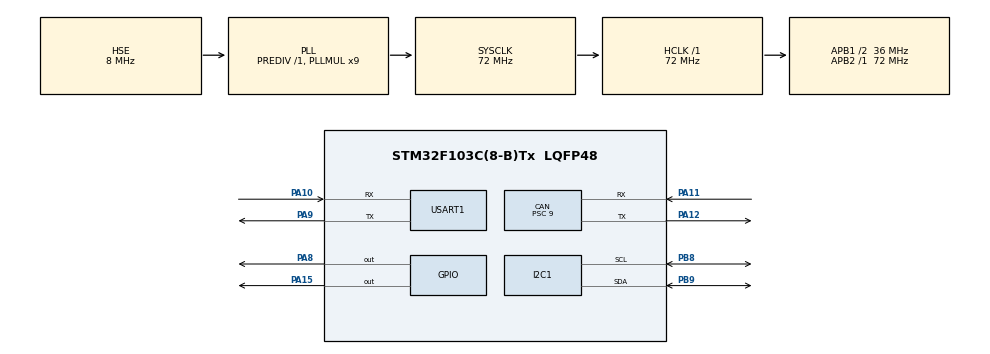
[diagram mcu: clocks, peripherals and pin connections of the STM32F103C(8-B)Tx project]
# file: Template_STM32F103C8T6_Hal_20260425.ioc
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CAN.ABOM=ENABLE
CAN.BS1=CAN_BS1_5TQ
CAN.BS2=CAN_BS2_2TQ
CAN.CalculateBaudRate=500000
CAN.CalculateTimeBit=2000
CAN.CalculateTimeQuantum=250.0
CAN.NART=ENABLE
CAN.Prescaler=9
FREERTOS.Tasks01=defaultTask,24,128,StartDefaultTask,Default,NULL,Dynamic,NULL,NULL
Mcu.Family=STM32F1
Mcu.Name=STM32F103C(8-B)Tx
Mcu.Package=LQFP48
NVIC.PriorityGroup=NVIC_PRIORITYGROUP_4
NVIC.TIM2_IRQn=true\:15\:0\:false\:false\:true\:false\:false\:true\:true
NVIC.TimeBase=TIM2_IRQn
NVIC.TimeBaseIP=TIM2
PA10.Mode=Asynchronous
PA10.Signal=USART1_RX
PA11.Mode=CAN_Activate
PA11.Signal=CAN_RX
PA12.Mode=CAN_Activate
PA12.Signal=CAN_TX
PA13.Mode=Serial_Wire
PA13.Signal=SYS_JTMS-SWDIO
PA14.Mode=Serial_Wire
PA14.Signal=SYS_JTCK-SWCLK
PA15.Signal=GPIO_Output
PA8.Signal=GPIO_Output
PA9.Mode=Asynchronous
PA9.Signal=USART1_TX
PB8.Mode=I2C
PB8.Signal=I2C1_SCL
PB9.Mode=I2C
PB9.Signal=I2C1_SDA
PD0-OSC_IN.Mode=HSE-External-Oscillator
PD0-OSC_IN.Signal=RCC_OSC_IN
PD1-OSC_OUT.Mode=HSE-External-Oscillator
PD1-OSC_OUT.Signal=RCC_OSC_OUT
ProjectManager.HeapSize=0x200
ProjectManager.StackSize=0x400
ProjectManager.TargetToolchain=MDK-ARM V5.32
RCC.AHBFreq_Value=72000000
RCC.APB1CLKDivider=RCC_HCLK_DIV2
RCC.APB1Freq_Value=36000000
RCC.APB1TimFreq_Value=72000000
RCC.APB2Freq_Value=72000000
RCC.APB2TimFreq_Value=72000000
RCC.HCLKFreq_Value=72000000
RCC.PLLMUL=RCC_PLL_MUL9
RCC.PLLSourceVirtual=RCC_PLLSOURCE_HSE
RCC.SYSCLKFreq_VALUE=72000000
RCC.SYSCLKSource=RCC_SYSCLKSOURCE_PLLCLK
RCC.USBFreq_Value=72000000
USART1.VirtualMode=VM_ASYNC
VP_FREERTOS_VS_CMSIS_V2.Mode=CMSIS_V2
VP_IWDG_VS_IWDG.Mode=IWDG_Activate
VP_SYS_VS_tim2.Mode=TIM2
board=custom

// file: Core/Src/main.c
/* USER CODE BEGIN Header */
/**
  ******************************************************************************
  * @file           : main.c
  * @brief          : Main program body
  ******************************************************************************
  * @attention
  *
  * Copyright (c) 2026 STMicroelectronics.
  * All rights reserved.
  *
  * This software is licensed under terms that can be found in the LICENSE file
  * in the root directory of this software component.
  * If no LICENSE file comes with this software, it is provided AS-IS.
  *
  ******************************************************************************
  */
/* USER CODE END Header */
#include "main.h"
#include "cmsis_os.h"
#include "can.h"
#include "i2c.h"
#include "iwdg.h"
#include "usart.h"
#include "gpio.h"

/* USER CODE BEGIN Includes */
#include <stdio.h>
#include "bsp_bq76940.h"
#include "bsp_can.h"
#include "crc8.h"

/* USER CODE END Includes */

void SystemClock_Config(void);
void MX_FREERTOS_Init(void);
/* USER CODE BEGIN PFP */
static void BQ76940_Test_Init(void);
static void BQ76940_Test_Poll(void);

/* USER CODE END PFP */

/* USER CODE BEGIN 0 */
static uint8_t g_bq_inited = 0;

/**
 * @brief 测试CAN发送接收, 发送10个数据包, 每个数据包包含3个字节, 第一个字节为计数器, 第二个字节为0xAA, 第三个字节为0x55
 *
 */
static void test_can_send(void){
  for (uint8_t i = 0; i < 10u; i++)
  {
    uint8_t data[3] = { i, 0xAAu, 0x55u };
    uint8_t ret = BSP_CAN_SendStd(0x123u, data, 3u, 10u);
    if (ret == 0)
    {
      printf("CAN_TX std=0x123 dlc=3 ret=%u cnt=%u\r\n", ret, i);
    }
    else
    {
      printf("CAN_TX std=0x123 dlc=3 ret=%u cnt=%u failed\r\n", ret, i);
    }
	  BSP_CAN_Frame_t frame = {0};
    uint8_t ret1 = BSP_CAN_TryReceive(&frame);
    if (ret1 == 0)
    {
      printf("CAN_RX std=0x%03X dlc=%u data=%02X %02X %02X\r\n", frame.id, frame.dlc, frame.data[0], frame.data[1], frame.data[2]);
    }
    else
    {
      printf("CAN_RX failed ret=%u\r\n", ret1);
    }
  }

    HAL_IWDG_Refresh(&hiwdg);
    HAL_Delay(1000);
}

// 计算PEC
static uint8_t bq_calc_pec_read_u8(uint8_t dev_addr, uint8_t reg, uint8_t data)
{
  uint8_t crc = 0x00u;
  uint8_t addr_w = (uint8_t)(dev_addr << 1);
  uint8_t addr_r = (uint8_t)((dev_addr << 1) | 1u);
  crc = CRC8_Update(crc, &addr_w, 1u, 0x07u);
  crc = CRC8_Update(crc, &reg, 1u, 0x07u);
  crc = CRC8_Update(crc, &addr_r, 1u, 0x07u);
  crc = CRC8_Update(crc, &data, 1u, 0x07u);
  return crc;
}

// 打印寄存器值，包含PEC
static void bq_dump_reg_u8_with_pec(uint8_t reg)
{
  uint8_t rx[2] = {0};
  if (BSP_I2C_Read_Buffer(BQ76940_ADDR, reg, rx, 2u) != 0)
  {
    printf("R[0x%02X]: read fail\r\n", reg);
    return;
  }
  uint8_t exp = bq_calc_pec_read_u8(BQ76940_ADDR, reg, rx[0]);
  printf("R[0x%02X]: D=%02X PEC=%02X EXP=%02X OK=%u\r\n", reg, rx[0], rx[1], exp, (rx[1] == exp) ? 1u : 0u);
}

static void bq_dump_balance_regs_with_pec(void)
{
  bq_dump_reg_u8_with_pec(BQ76940_REG_SYS_CELL1_BALANCE);
  bq_dump_reg_u8_with_pec(BQ76940_REG_SYS_CELL2_BALANCE);
  bq_dump_reg_u8_with_pec(BQ76940_REG_SYS_CELL3_BALANCE);
}

static void BQ76940_Test_Init(void)
{
  g_bq_inited = 0;

  for (uint8_t i = 0; i < 5; i++)
  {
    if (BQ76940_Init() == 0)
    {
      g_bq_inited = 1;
      break;
    }
    HAL_IWDG_Refresh(&hiwdg);
    HAL_Delay(20);
  }

  if (g_bq_inited)
  {
    printf("BQ76940 init OK\r\n");
    printf("BQ76940 cell_count=%u mask=0x%04X\r\n", BQ76940_GetPresentCellCount(), (unsigned int)BQ76940_CELL_PRESENT_MASK);
  }
  else
  {
    printf("BQ76940 init FAIL\r\n");
  }
}

static void BQ76940_Test_Poll(void)
{
  static uint32_t last_print_ms = 0;
  static uint32_t last_diag_ms = 0;

  HAL_IWDG_Refresh(&hiwdg);

  if (!g_bq_inited)
  {
    HAL_Delay(10);
    return;
  }

  uint32_t now = HAL_GetTick();
  if ((now - last_print_ms) < 500u)
  {
    HAL_Delay(10);
    return;
  }
  last_print_ms = now;

  float cell_v[BQ76940_CELL_NUM + 1] = {0};
  float pack_i = 0.0f;
  float ts1_v = 0.0f;
  uint8_t fault = 0;

  uint8_t ok_v = (BQ76940_ReadVoltage(cell_v) == 0);
  uint8_t ok_i = (BQ76940_ReadCurrent(&pack_i) == 0);
  uint8_t ok_t = (BQ76940_ReadTemp(&ts1_v) == 0);
  uint8_t ok_f = (BQ76940_ReadFault(&fault) == 0);

  uint8_t cell_count = BQ76940_GetPresentCellCount();
  float pack_v = 0.0f;
  if (ok_v && (cell_count > 0u))
  {
    for (uint8_t i = 0; i < BQ76940_CELL_NUM; i++)
    {
      if (((BQ76940_CELL_PRESENT_MASK >> i) & 0x01u) != 0u)
      {
        pack_v += cell_v[i];
      }
    }
  }
  uint8_t soc = (ok_v ? BQ76940_CalcSOC(pack_v) : 0u);

  printf("BQ:V=%u I=%u T=%u F=%u | I=%.3fA TS1=%.3fV STAT=0x%02X \r\n",
         ok_v, ok_i, ok_t, ok_f, pack_i, ts1_v, fault);
  printf("BQ:SOC=%u%% pack=%.3fV cells=%u avg=%.3fV\r\n",
         soc, pack_v, cell_count, (cell_count > 0u) ? (pack_v / (float)cell_count) : 0.0f);

  printf("c1=%.3fV,c2=%.3fV,c3=%.3fV,c4=%.3fV,c5=%.3fV,c6=%.3fV,c7=%.3fV,c8=%.3fV,c9=%.3fV,c10=%.3fV,c11=%.3fV,c12=%.3fV,c13=%.3fV,c14=%.3fV,c15=%.3fV\r\n",
         cell_v[0], cell_v[1], cell_v[2], cell_v[3], cell_v[4], cell_v[5], cell_v[6], cell_v[7], cell_v[8], cell_v[9], cell_v[10], cell_v[11], cell_v[12], cell_v[13], cell_v[14]);

  if ((now - last_diag_ms) >= 2000u)
  {
    last_diag_ms = now;

    uint8_t adc_gain1 = 0;
    uint8_t adc_gain2 = 0;
    uint8_t adc_offset = 0;
    uint8_t sys_ctrl1 = 0;
    uint8_t sys_ctrl2 = 0;

    uint8_t ok_gain1 = (BSP_I2C_Read_Byte(BQ76940_ADDR, BQ76940_REG_ADCGAIN1, &adc_gain1) == 0);
    uint8_t ok_gain2 = (BSP_I2C_Read_Byte(BQ76940_ADDR, BQ76940_REG_ADCGAIN2, &adc_gain2) == 0);
    uint8_t ok_offset = (BSP_I2C_Read_Byte(BQ76940_ADDR, BQ76940_REG_ADCOFFSET, &adc_offset) == 0);
    uint8_t ok_sc1 = (BSP_I2C_Read_Byte(BQ76940_ADDR, BQ76940_REG_SYS_CTRL1, &sys_ctrl1) == 0);
    uint8_t ok_sc2 = (BSP_I2C_Read_Byte(BQ76940_ADDR, BQ76940_REG_SYS_CTRL2, &sys_ctrl2) == 0);

    printf("BQ_DIAG:ADCGAIN1(0x%02X)=%u ADCGAIN2(0x%02X)=%u ADCOFFSET(0x%02X)=%u SYS_CTRL1(0x%02X)=%u SYS_CTRL2(0x%02X)=%u\r\n",
           ok_gain1 ? adc_gain1 : 0xFF, ok_gain1, ok_gain2 ? adc_gain2 : 0xFF, ok_gain2, ok_offset ? adc_offset : 0xFF, ok_offset, ok_sc1 ? sys_ctrl1 : 0xFF, ok_sc1, ok_sc2 ? sys_ctrl2 : 0xFF, ok_sc2);

    printf("BQ_DIAG:SYS_CTRL1(ADC_EN=%u TEMP_SEL=%u SHUT_A=%u SHUT_B=%u) SYS_CTRL2(CC_EN=%u CHG_ON=%u DSG_ON=%u)\r\n",
           (sys_ctrl1 >> 4) & 0x01u, (sys_ctrl1 >> 3) & 0x01u, (sys_ctrl1 >> 1) & 0x01u, sys_ctrl1 & 0x01u,
           (sys_ctrl2 >> 6) & 0x01u, sys_ctrl2 & 0x01u, (sys_ctrl2 >> 1) & 0x01u);
  }

  BQ76940_ClearFault();
  }

/* USER CODE END 0 */

int main(void)
{

  /* MCU Configuration--------------------------------------------------------*/

  /* Reset of all peripherals, Initializes the Flash interface and the Systick. */
  HAL_Init();

  /* Configure the system clock */
  SystemClock_Config();

  /* Initialize all configured peripherals */
  MX_GPIO_Init();
  MX_CAN_Init();
  MX_I2C1_Init();
  MX_IWDG_Init();
  MX_USART1_UART_Init();
  /* USER CODE BEGIN 2 */
  BSP_CAN_ConfigFilterAcceptAll();
  printf("Start...\r\n");
  BQ76940_Test_Init();

  /* USER CODE END 2 */

  /* Init scheduler */
  osKernelInitialize();  /* Call init function for freertos objects (in cmsis_os2.c) */
  MX_FREERTOS_Init();

  /* Start scheduler */
  osKernelStart();

  /* We should never get here as control is now taken by the scheduler */

  /* Infinite loop */
  while (1)
  {

    /* USER CODE BEGIN 3 */
    //BQ76940_Test_Poll();

  /* USER CODE END 3 */
  }
}
void SystemClock_Config(void)
{
  RCC_OscInitTypeDef RCC_OscInitStruct = {0};
  RCC_ClkInitTypeDef RCC_ClkInitStruct = {0};

  /** Initializes the RCC Oscillators according to the specified parameters
  * in the RCC_OscInitTypeDef structure.
  */
  RCC_OscInitStruct.OscillatorType = RCC_OSCILLATORTYPE_LSI|RCC_OSCILLATORTYPE_HSE;
  RCC_OscInitStruct.HSEState = RCC_HSE_ON;
  RCC_OscInitStruct.HSEPredivValue = RCC_HSE_PREDIV_DIV1;
  RCC_OscInitStruct.HSIState = RCC_HSI_ON;
  RCC_OscInitStruct.LSIState = RCC_LSI_ON;
  RCC_OscInitStruct.PLL.PLLState = RCC_PLL_ON;
  RCC_OscInitStruct.PLL.PLLSource = RCC_PLLSOURCE_HSE;
  RCC_OscInitStruct.PLL.PLLMUL = RCC_PLL_MUL9;
  if (HAL_RCC_OscConfig(&RCC_OscInitStruct) != HAL_OK)
  {
    Error_Handler();
  }

  /** Initializes the CPU, AHB and APB buses clocks
  */
  RCC_ClkInitStruct.ClockType = RCC_CLOCKTYPE_HCLK|RCC_CLOCKTYPE_SYSCLK
                              |RCC_CLOCKTYPE_PCLK1|RCC_CLOCKTYPE_PCLK2;
  RCC_ClkInitStruct.SYSCLKSource = RCC_SYSCLKSOURCE_PLLCLK;
  RCC_ClkInitStruct.AHBCLKDivider = RCC_SYSCLK_DIV1;
  RCC_ClkInitStruct.APB1CLKDivider = RCC_HCLK_DIV2;
  RCC_ClkInitStruct.APB2CLKDivider = RCC_HCLK_DIV1;

  if (HAL_RCC_ClockConfig(&RCC_ClkInitStruct, FLASH_LATENCY_2) != HAL_OK)
  {
    Error_Handler();
  }
}

void HAL_TIM_PeriodElapsedCallback(TIM_HandleTypeDef *htim)
{
  if (htim->Instance == TIM2)
  {
    HAL_IncTick();
  }
}

void Error_Handler(void)
{
  __disable_irq();
  while (1)
  {
  }
}

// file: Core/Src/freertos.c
/* USER CODE BEGIN Header */
/**
  ******************************************************************************
  * File Name          : freertos.c
  * Description        : Code for freertos applications
  ******************************************************************************
  * @attention
  *
  * Copyright (c) 2026 STMicroelectronics.
  * All rights reserved.
  *
  * This software is licensed under terms that can be found in the LICENSE file
  * in the root directory of this software component.
  * If no LICENSE file comes with this software, it is provided AS-IS.
  *
  ******************************************************************************
  */
/* USER CODE END Header */

#include "FreeRTOS.h"
#include "task.h"
#include "main.h"
#include "cmsis_os.h"

/* USER CODE BEGIN Includes */
#include "app_tasks.h"

/* USER CODE END Includes */

/* Definitions for defaultTask */
osThreadId_t defaultTaskHandle;
const osThreadAttr_t defaultTask_attributes = {
  .name = "defaultTask",
  .stack_size = 128 * 4,
  .priority = (osPriority_t) osPriorityNormal,
};

void StartDefaultTask(void *argument);

void MX_FREERTOS_Init(void); /* (MISRA C 2004 rule 8.1) */

void MX_FREERTOS_Init(void) {

  /* Create the thread(s) */
  /* USER CODE BEGIN RTOS_THREADS */
  APP_Task_Create();
  /* USER CODE END RTOS_THREADS */

}

void StartDefaultTask(void *argument)
{
  for(;;)
  {
    osDelay(1);
  }
}
